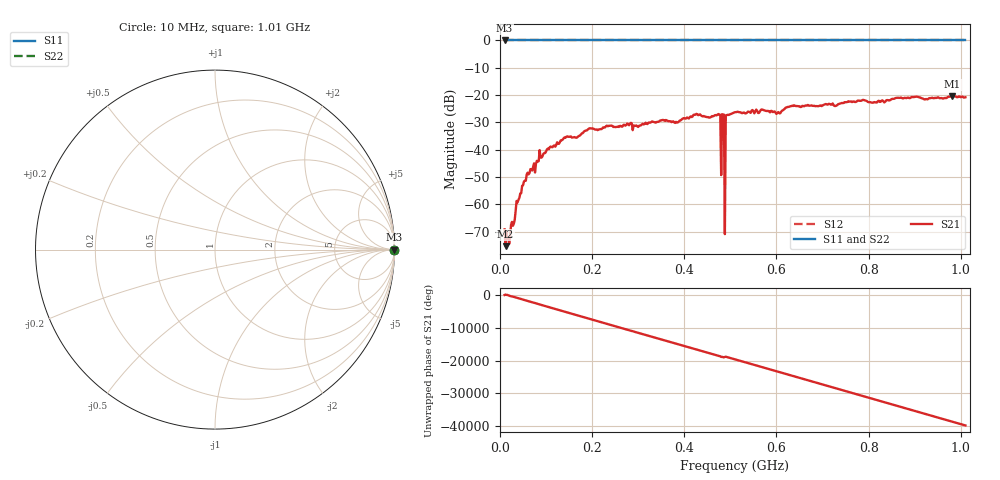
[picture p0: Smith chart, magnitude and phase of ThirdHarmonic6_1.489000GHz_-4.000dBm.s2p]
! 8/16/2025 5:26:08 PM
! C:\ANRITSUVNA\TEMP\TEMP.S2P
! CHANNEL.1
! TR.MEASUREMENT
! RAW.DATA
! RF.CORRECTION.OFF
! AVERAGING.OFF
! IF.BANDWIDTH: 5KHZ
! SWEEPTYPE:  FREQ.SWEEP(Linear)
! Reference Plane Port Info
! PORT:  PORT1  PORT2
! DISTANCE:  0  m  0  m
! TIME:  0  s  0  s
! PHASE.OFFSET:  0  deg.  0  deg.
! LOSS:  0  dB  0  dB
! REF.LOSS:  0  dB  0  dB
! REF.FREQ:  0  Hz  0  Hz
! Power Info
! POWER:  -20  dBm  -20  dBm
! EFF.POWER:  -20  dBm  -20  dBm
! SOURCE.ATTEN:  0  dB  0  dB
! TEST.ATTEN:  0  dB  0  dB
# GHZ S RI R 50.0
! FREQ.GHZ  S11RE  S11IM  S21RE  S21IM  S12RE  S12IM  S22RE  S22IM
!; PortSelection: Port_12
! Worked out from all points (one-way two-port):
!   501 points, 10 MHz to 1.01 GHz, reference 50 ohm
!   highest |S21| = -20.41 dB at 982 MHz (marker M1); lowest = -75.4 dB at 12 MHz (marker M2)
!   lowest |S11| = 0.0 dB at 10 MHz (marker M3)
!   |S11| at or under -10 dB: nowhere
!   |S22| runs from 0.0 to 0.0 dB; largest |S21 - S12| = 1.1
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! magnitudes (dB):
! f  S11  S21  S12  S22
! 10 MHz  0.0  -69.2  0.0  0.0
! 12 MHz  0.0  -75.4  0.0  0.0
! 20 MHz  0.0  -74.5  0.0  0.0
! 40 MHz  0.0  -58.4  0.0  0.0
! 56 MHz  0.0  -51.4  0.0  0.0
! 84 MHz  0.0  -44.2  0.0  0.0
! 142 MHz  0.0  -35.6  0.0  0.0
! 178 MHz  0.0  -34.0  0.0  0.0
! 344 MHz  0.0  -29.8  0.0  0.0
! 474 MHz  0.0  -27.0  0.0  0.0
! 476 MHz  0.0  -27.2  0.0  0.0
! 482 MHz  0.0  -27.0  0.0  0.0
! 484 MHz  0.0  -27.1  0.0  0.0
! 486 MHz  0.0  -27.2  0.0  0.0
! 492 MHz  0.0  -27.4  0.0  0.0
! 494 MHz  0.0  -27.2  0.0  0.0
! 510 MHz  0.0  -26.2  0.0  0.0
! 604 MHz  0.0  -26.2  0.0  0.0
! 678 MHz  0.0  -23.9  0.0  0.0
! 844 MHz  0.0  -22.0  0.0  0.0
! 982 MHz  0.0  -20.4  0.0  0.0
! 1.01 GHz  0.0  -20.8  0.0  0.0
